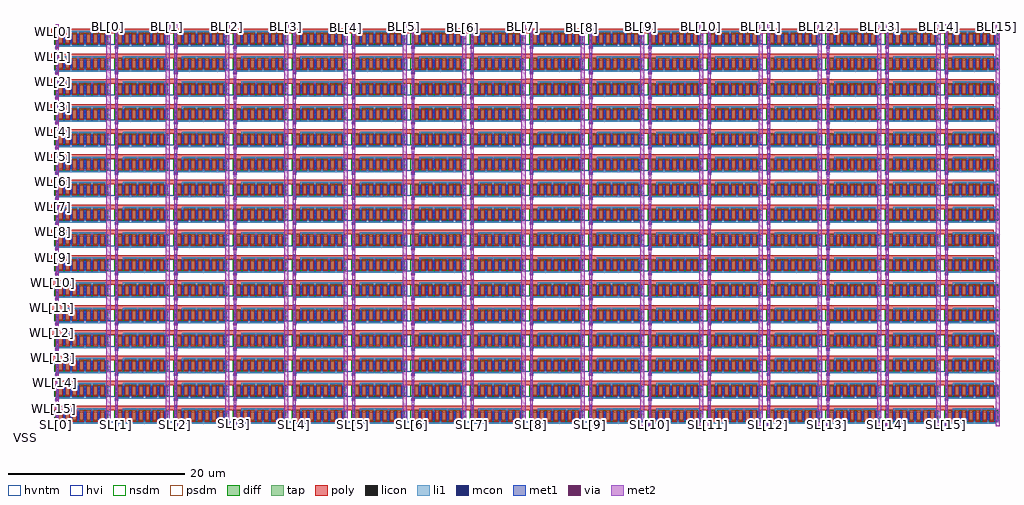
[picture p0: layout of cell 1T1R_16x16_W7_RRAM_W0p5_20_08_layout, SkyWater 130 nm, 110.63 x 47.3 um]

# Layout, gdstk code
import gdstk
lib = gdstk.Library(unit=1e-6, precision=1e-09)
def R(c, l, rs):  # rectangles x0, y0, x1, y1
    for r in rs: c.add(gdstk.rectangle(r[:2], r[2:], *l))
def A(c, l, x, y, w, h, nx, ny, dx, dy):  # array of equal rectangles
    R(c, l, [(x+i*dx, y+j*dy, x+i*dx+w, y+j*dy+h) for i in range(nx) for j in range(ny)])
diff = (65, 20)
tap = (65, 44)
poly = (66, 20)
licon = (66, 44)
li1 = (67, 20)
mcon = (67, 44)
met1 = (68, 20)
via = (68, 44)
met2 = (69, 20)
hvi = (75, 20)
nsdm = (93, 44)
psdm = (94, 20)
hvntm = (125, 20)

mv_5v_nmostap_substrate_ = lib.new_cell('MV_5V_nmosTap_substrate_Pwell')
R(mv_5v_nmostap_substrate_, tap, [(-0.48,-0.08,-0.03,0.37)])
R(mv_5v_nmostap_substrate_, licon, [(-0.335,0.065,-0.165,0.235)])
R(mv_5v_nmostap_substrate_, li1, [(-0.44,-0.03,-0.06,0.34)])
R(mv_5v_nmostap_substrate_, hvi, [(-0.675,-0.275,0.165,0.565)])
R(mv_5v_nmostap_substrate_, psdm, [(-0.605,-0.205,0.095,0.495)])

sky130_fd_pr__nfet_g5v0d = lib.new_cell('sky130_fd_pr__nfet_g5v0d10v5_C7DT8U')
R(sky130_fd_pr__nfet_g5v0d, diff, [(-2.91,-0.5,2.91,0.5)])
A(sky130_fd_pr__nfet_g5v0d, poly, -2.62, -0.63, 0.5, 1.26, 7, 1, 0.79, 0)
A(sky130_fd_pr__nfet_g5v0d, licon, -2.85, -0.425, 0.17, 0.17, 8, 3, 0.79, 0.34)
A(sky130_fd_pr__nfet_g5v0d, li1, -2.85, -0.52, 0.17, 1.04, 8, 1, 0.79, 0)
A(sky130_fd_pr__nfet_g5v0d, mcon, -2.85, -0.265, 0.17, 0.17, 8, 2, 0.79, 0.36)
A(sky130_fd_pr__nfet_g5v0d, met1, -2.88, -0.5, 0.23, 1, 8, 1, 0.79, 0)
R(sky130_fd_pr__nfet_g5v0d, hvi, [(-3.095,-0.685,3.095,0.685)])
R(sky130_fd_pr__nfet_g5v0d, nsdm, [(-3.035,-0.625,3.035,0.625)])
R(sky130_fd_pr__nfet_g5v0d, hvntm, [(-3.095,-0.685,3.095,0.685)])

c_1t1r_w7_rram_w0p5_20_08_ = lib.new_cell('1T1R_W7_RRAM_W0p5_20_08_layout')
R(c_1t1r_w7_rram_w0p5_20_08_, diff, [(0.23,0.68,0.29,0.98)])
A(c_1t1r_w7_rram_w0p5_20_08_, poly, 2.66, 1.19, 0.5, 0.08, 4, 1, 0.79, 0)
R(c_1t1r_w7_rram_w0p5_20_08_, poly, [(0.29,1.13,0.79,1.27), (1.87,1.17,2.37,1.27), (1.08,1.19,1.58,1.27), (-0.5,1.27,5.53,1.77)])
R(c_1t1r_w7_rram_w0p5_20_08_, li1, [(0.06,-0.245,5.795,-0.075), (0.06,-0.075,0.23,0.31), (1.64,-0.075,1.81,0.21), (3.22,-0.075,3.39,0.33), (4.8,-0.075,4.97,0.25), (0.85,1.07,1.02,1.35), (4.01,1.11,4.18,1.35), (5.59,1.12,5.76,1.35), (2.43,1.14,2.6,1.35), (0.85,1.35,5.785,1.52)])
R(c_1t1r_w7_rram_w0p5_20_08_, met1, [(-0.05,-0.51,0.35,-0.21), (0,-0.21,0.22,1.89), (5.6,0.1,6.21,1.15)])
R(c_1t1r_w7_rram_w0p5_20_08_, via, [(0.075,-0.435,0.225,-0.285)])
R(c_1t1r_w7_rram_w0p5_20_08_, met2, [(0,-0.56,0.31,2.285), (5.74,-0.5,6.2,2.29)])
R(c_1t1r_w7_rram_w0p5_20_08_, hvi, [(-0.16,0.41,0.68,1.25)])
R(c_1t1r_w7_rram_w0p5_20_08_, nsdm, [(0.105,0.555,0.415,1.105)])
c_1t1r_w7_rram_w0p5_20_08_.add(gdstk.Reference(sky130_fd_pr__nfet_g5v0d, (2.91,0.63)))
c_1t1r_w7_rram_w0p5_20_08_.add(gdstk.Label('WL', (-0.29,1.53), layer=66, texttype=16))
c_1t1r_w7_rram_w0p5_20_08_.add(gdstk.Label('BL', (5.95,2.03), layer=69, texttype=16))
c_1t1r_w7_rram_w0p5_20_08_.add(gdstk.Label('SL', (0.16,-0.35), layer=69, texttype=16))

c_1t1r_1x16_w7_rram_w0p5_2 = lib.new_cell('1T1R_1x16_W7_RRAM_W0p5_20_08_layout')
A(c_1t1r_1x16_w7_rram_w0p5_2, poly, 0, 16.08, 0.43, 0.5, 1, 3, 0, 2.85)
A(c_1t1r_1x16_w7_rram_w0p5_2, poly, 0, 24.63, 0.47, 0.51, 1, 4, 0, 2.85)
R(c_1t1r_1x16_w7_rram_w0p5_2, poly, [(0,1.83,0.45,2.33), (-0.01,4.68,0.44,5.18), (0,7.53,0.45,8.03), (-0.01,10.37,0.41,10.88), (0,13.22,0.42,13.73), (-0.01,36.03,0.46,36.54), (0,38.87,0.47,39.39), (0.01,41.73,0.48,42.25), (0,44.57,0.47,45.09)])
R(c_1t1r_1x16_w7_rram_w0p5_2, met2, [(0.5,0.005,0.81,45.555), (6.24,0.04,6.7,45.56)])
r = gdstk.Reference(c_1t1r_w7_rram_w0p5_20_08_, (0.5,0.56)); r.repetition = gdstk.Repetition(1, 16, v1=(6.71,0), v2=(0,2.85)); c_1t1r_1x16_w7_rram_w0p5_2.add(r)
c_1t1r_1x16_w7_rram_w0p5_2.add(gdstk.Label('WL[0]', (0.23,44.8), layer=66, texttype=16))
c_1t1r_1x16_w7_rram_w0p5_2.add(gdstk.Label('WL[1]', (0.26,41.97), layer=66, texttype=16))
c_1t1r_1x16_w7_rram_w0p5_2.add(gdstk.Label('WL[2]', (0.23,39.15), layer=66, texttype=16))
c_1t1r_1x16_w7_rram_w0p5_2.add(gdstk.Label('WL[3]', (0.2,36.24), layer=66, texttype=16))
c_1t1r_1x16_w7_rram_w0p5_2.add(gdstk.Label('WL[4]', (0.18,33.41), layer=66, texttype=16))
c_1t1r_1x16_w7_rram_w0p5_2.add(gdstk.Label('WL[5]', (0.2,30.59), layer=66, texttype=16))
c_1t1r_1x16_w7_rram_w0p5_2.add(gdstk.Label('WL[6]', (0.22,27.75), layer=66, texttype=16))
c_1t1r_1x16_w7_rram_w0p5_2.add(gdstk.Label('WL[7]', (0.2,24.92), layer=66, texttype=16))
c_1t1r_1x16_w7_rram_w0p5_2.add(gdstk.Label('WL[8]', (0.22,22.07), layer=66, texttype=16))
c_1t1r_1x16_w7_rram_w0p5_2.add(gdstk.Label('WL[9]', (0.2,19.21), layer=66, texttype=16))
c_1t1r_1x16_w7_rram_w0p5_2.add(gdstk.Label('WL[10]', (0.2,16.32), layer=66, texttype=16))
c_1t1r_1x16_w7_rram_w0p5_2.add(gdstk.Label('WL[11]', (0.2,13.5), layer=66, texttype=16))
c_1t1r_1x16_w7_rram_w0p5_2.add(gdstk.Label('WL[12]', (0.19,10.64), layer=66, texttype=16))
c_1t1r_1x16_w7_rram_w0p5_2.add(gdstk.Label('WL[13]', (0.2,7.83), layer=66, texttype=16))
c_1t1r_1x16_w7_rram_w0p5_2.add(gdstk.Label('WL[14]', (0.18,4.94), layer=66, texttype=16))
c_1t1r_1x16_w7_rram_w0p5_2.add(gdstk.Label('WL[15]', (0.24,2.1), layer=66, texttype=16))
c_1t1r_1x16_w7_rram_w0p5_2.add(gdstk.Label('SL[0]', (0.64,0.23), layer=69, texttype=16))
c_1t1r_1x16_w7_rram_w0p5_2.add(gdstk.Label('BL[0]', (6.48,45.29), layer=69, texttype=16))

c_1t1r_16x16_w7_rram_w0p5_ = lib.new_cell('1T1R_16x16_W7_RRAM_W0p5_20_08_layout')
R(c_1t1r_16x16_w7_rram_w0p5_, poly, [(0.01,1.83,103.3,2.33), (0.15,4.68,106.51,5.18), (0.01,7.53,106.76,8.03), (-0.02,10.38,105.02,10.88), (0.01,13.23,104.9,13.73), (0,16.08,105.81,16.58), (0,18.93,106.02,19.43), (-0.01,21.78,105.73,22.28), (0.03,24.63,104.14,25.13), (0.01,27.48,106.37,27.98), (0.02,30.33,105.78,30.83), (0,33.18,105.76,33.68), (-0.05,36.03,106.04,36.53), (-0.03,38.88,103.21,39.38), (0.03,41.73,104.88,42.23), (0,44.58,106.07,45.08)])
R(c_1t1r_16x16_w7_rram_w0p5_, li1, [(-3.1,-1.48,-1.9,-1.01)])
A(c_1t1r_16x16_w7_rram_w0p5_, met2, 13.94, 0.05, 0.29, 0.44, 3, 1, 13.44, 0)
A(c_1t1r_16x16_w7_rram_w0p5_, met2, 19.73, 45.09, 0.47, 0.51, 3, 1, 26.88, 0)
R(c_1t1r_16x16_w7_rram_w0p5_, met2, [(67.71,0.01,68,0.45), (87.87,0.01,88.16,0.45), (54.26,0.03,54.55,0.47), (101.31,0.03,101.6,0.47), (0.51,0.04,0.8,0.48), (34.11,0.04,34.4,0.48), (47.56,0.04,47.85,0.48), (60.98,0.04,61.27,0.48), (74.42,0.04,74.71,0.48), (94.59,0.04,94.88,0.48), (7.22,0.05,7.51,0.49), (20.66,0.06,20.95,0.5), (81.15,0.06,81.44,0.5), (107.03,45.04,107.53,45.62), (100.34,45.05,100.84,45.63), (93.63,45.06,94.13,45.64), (33.16,45.07,33.63,45.58), (6.28,45.08,6.75,45.59), (13,45.08,13.47,45.59), (26.43,45.08,26.9,45.59), (39.89,45.08,40.36,45.59), (53.33,45.08,53.8,45.59), (60.04,45.08,60.51,45.59), (66.76,45.08,67.23,45.59), (80.19,45.08,80.66,45.59), (86.91,45.08,87.38,45.59)])
A(c_1t1r_16x16_w7_rram_w0p5_, hvi, 6.515, 0.505, 0.53, 1.37, 15, 16, 6.72, 2.85)
A(c_1t1r_16x16_w7_rram_w0p5_, hvntm, 6.515, 0.505, 0.53, 1.37, 15, 16, 6.72, 2.85)
c_1t1r_16x16_w7_rram_w0p5_.add(gdstk.Reference(mv_5v_nmostap_substrate_, (-1.87,-1.39)))
r = gdstk.Reference(c_1t1r_1x16_w7_rram_w0p5_2, (0.01,0)); r.repetition = gdstk.Repetition(16, 1, v1=(6.72,0), v2=(0,45.6)); c_1t1r_16x16_w7_rram_w0p5_.add(r)
c_1t1r_16x16_w7_rram_w0p5_.add(gdstk.Label('WL[0]', (0.28,44.8), layer=66, texttype=16))
c_1t1r_16x16_w7_rram_w0p5_.add(gdstk.Label('WL[1]', (0.22,41.97), layer=66, texttype=16))
c_1t1r_16x16_w7_rram_w0p5_.add(gdstk.Label('WL[2]', (0.25,39.12), layer=66, texttype=16))
c_1t1r_16x16_w7_rram_w0p5_.add(gdstk.Label('WL[3]', (0.21,36.29), layer=66, texttype=16))
c_1t1r_16x16_w7_rram_w0p5_.add(gdstk.Label('WL[4]', (0.26,33.42), layer=66, texttype=16))
c_1t1r_16x16_w7_rram_w0p5_.add(gdstk.Label('WL[5]', (0.26,30.6), layer=66, texttype=16))
c_1t1r_16x16_w7_rram_w0p5_.add(gdstk.Label('WL[6]', (0.3,27.74), layer=66, texttype=16))
c_1t1r_16x16_w7_rram_w0p5_.add(gdstk.Label('WL[7]', (0.23,24.88), layer=66, texttype=16))
c_1t1r_16x16_w7_rram_w0p5_.add(gdstk.Label('WL[8]', (0.19,22.06), layer=66, texttype=16))
c_1t1r_16x16_w7_rram_w0p5_.add(gdstk.Label('WL[9]', (0.2,19.15), layer=66, texttype=16))
c_1t1r_16x16_w7_rram_w0p5_.add(gdstk.Label('WL[10]', (0.2,16.28), layer=66, texttype=16))
c_1t1r_16x16_w7_rram_w0p5_.add(gdstk.Label('WL[11]', (0.18,13.49), layer=66, texttype=16))
c_1t1r_16x16_w7_rram_w0p5_.add(gdstk.Label('WL[12]', (0.16,10.65), layer=66, texttype=16))
c_1t1r_16x16_w7_rram_w0p5_.add(gdstk.Label('WL[13]', (0.26,7.78), layer=66, texttype=16))
c_1t1r_16x16_w7_rram_w0p5_.add(gdstk.Label('WL[14]', (0.42,4.98), layer=66, texttype=16))
c_1t1r_16x16_w7_rram_w0p5_.add(gdstk.Label('WL[15]', (0.39,2.02), layer=66, texttype=16))
c_1t1r_16x16_w7_rram_w0p5_.add(gdstk.Label('SL[0]', (0.62,0.23), layer=69, texttype=16))
c_1t1r_16x16_w7_rram_w0p5_.add(gdstk.Label('SL[1]', (7.36,0.27), layer=69, texttype=16))
c_1t1r_16x16_w7_rram_w0p5_.add(gdstk.Label('SL[2]', (14.08,0.23), layer=69, texttype=16))
c_1t1r_16x16_w7_rram_w0p5_.add(gdstk.Label('SL[3]', (20.8,0.29), layer=69, texttype=16))
c_1t1r_16x16_w7_rram_w0p5_.add(gdstk.Label('SL[4]', (27.53,0.27), layer=69, texttype=16))
c_1t1r_16x16_w7_rram_w0p5_.add(gdstk.Label('SL[5]', (34.26,0.23), layer=69, texttype=16))
c_1t1r_16x16_w7_rram_w0p5_.add(gdstk.Label('SL[6]', (40.88,0.2), layer=69, texttype=16))
c_1t1r_16x16_w7_rram_w0p5_.add(gdstk.Label('SL[7]', (47.69,0.21), layer=69, texttype=16))
c_1t1r_16x16_w7_rram_w0p5_.add(gdstk.Label('SL[8]', (54.43,0.25), layer=69, texttype=16))
c_1t1r_16x16_w7_rram_w0p5_.add(gdstk.Label('SL[9]', (61.11,0.21), layer=69, texttype=16))
c_1t1r_16x16_w7_rram_w0p5_.add(gdstk.Label('SL[10]', (67.86,0.24), layer=69, texttype=16))
c_1t1r_16x16_w7_rram_w0p5_.add(gdstk.Label('SL[11]', (74.49,0.23), layer=69, texttype=16))
c_1t1r_16x16_w7_rram_w0p5_.add(gdstk.Label('SL[12]', (81.29,0.23), layer=69, texttype=16))
c_1t1r_16x16_w7_rram_w0p5_.add(gdstk.Label('SL[13]', (87.96,0.25), layer=69, texttype=16))
c_1t1r_16x16_w7_rram_w0p5_.add(gdstk.Label('SL[14]', (94.75,0.26), layer=69, texttype=16))
c_1t1r_16x16_w7_rram_w0p5_.add(gdstk.Label('SL[15]', (101.44,0.21), layer=69, texttype=16))
c_1t1r_16x16_w7_rram_w0p5_.add(gdstk.Label('BL[0]', (6.51,45.3), layer=69, texttype=16))
c_1t1r_16x16_w7_rram_w0p5_.add(gdstk.Label('BL[1]', (13.17,45.34), layer=69, texttype=16))
c_1t1r_16x16_w7_rram_w0p5_.add(gdstk.Label('BL[2]', (19.95,45.31), layer=69, texttype=16))
c_1t1r_16x16_w7_rram_w0p5_.add(gdstk.Label('BL[3]', (26.66,45.36), layer=69, texttype=16))
c_1t1r_16x16_w7_rram_w0p5_.add(gdstk.Label('BL[4]', (33.41,45.28), layer=69, texttype=16))
c_1t1r_16x16_w7_rram_w0p5_.add(gdstk.Label('BL[5]', (40.08,45.31), layer=69, texttype=16))
c_1t1r_16x16_w7_rram_w0p5_.add(gdstk.Label('BL[6]', (46.76,45.26), layer=69, texttype=16))
c_1t1r_16x16_w7_rram_w0p5_.add(gdstk.Label('BL[7]', (53.5,45.35), layer=69, texttype=16))
c_1t1r_16x16_w7_rram_w0p5_.add(gdstk.Label('BL[8]', (60.22,45.28), layer=69, texttype=16))
c_1t1r_16x16_w7_rram_w0p5_.add(gdstk.Label('BL[9]', (66.95,45.3), layer=69, texttype=16))
c_1t1r_16x16_w7_rram_w0p5_.add(gdstk.Label('BL[10]', (73.68,45.3), layer=69, texttype=16))
c_1t1r_16x16_w7_rram_w0p5_.add(gdstk.Label('BL[11]', (80.45,45.33), layer=69, texttype=16))
c_1t1r_16x16_w7_rram_w0p5_.add(gdstk.Label('BL[12]', (87.08,45.31), layer=69, texttype=16))
c_1t1r_16x16_w7_rram_w0p5_.add(gdstk.Label('BL[13]', (93.93,45.35), layer=69, texttype=16))
c_1t1r_16x16_w7_rram_w0p5_.add(gdstk.Label('BL[14]', (100.62,45.33), layer=69, texttype=16))
c_1t1r_16x16_w7_rram_w0p5_.add(gdstk.Label('BL[15]', (107.28,45.31), layer=69, texttype=16))
c_1t1r_16x16_w7_rram_w0p5_.add(gdstk.Label('VSS', (-2.94,-1.21), layer=67, texttype=16))

lib.write_gds('1T1R_16x16_W7_RRAM_W0p5_20_08_layout.gds')
